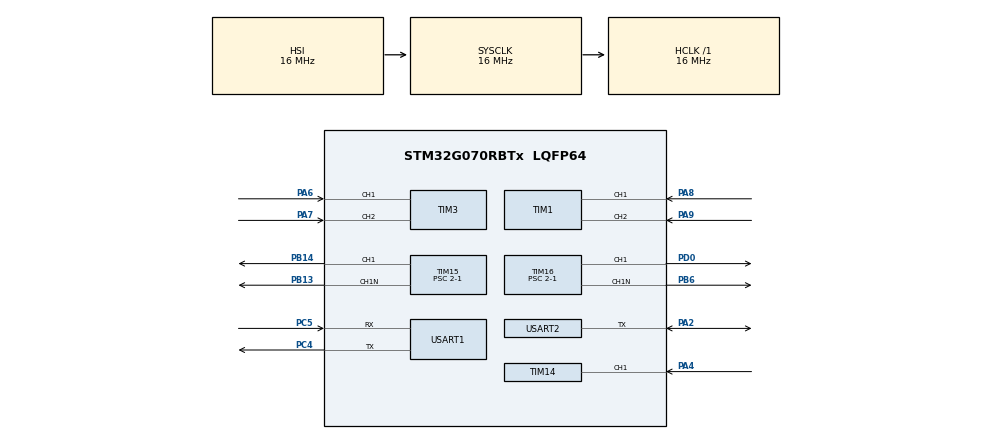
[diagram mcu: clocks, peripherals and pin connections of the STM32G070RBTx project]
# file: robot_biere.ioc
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FREERTOS.Tasks01=defaultTask,0,128,StartDefaultTask,Default,NULL,Dynamic,NULL,NULL
Mcu.Family=STM32G0
Mcu.Name=STM32G070RBTx
Mcu.Package=LQFP64
NVIC.TIM7_IRQn=true\:3\:0\:true\:false\:true\:true\:true\:true\:true
PA13.Mode=Serial_Wire
PA13.Signal=SYS_SWDIO
PA14-BOOT0.Mode=Serial_Wire
PA14-BOOT0.Signal=SYS_SWCLK
PA2.GPIO_ModeDefaultOD=GPIO_MODE_AF_PP
PA2.GPIO_PuPdOD=GPIO_NOPULL
PA2.Mode=Half_duplex(single_wire_mode)
PA2.Signal=USART2_TX
PA4.Signal=S_TIM14_CH1
PA6.Signal=S_TIM3_CH1
PA7.Signal=S_TIM3_CH2
PA8.Signal=S_TIM1_CH1
PA9.Signal=S_TIM1_CH2
PB13.Mode=PWM Generation1 CH1 CH1N
PB13.Signal=TIM15_CH1N
PB14.Signal=S_TIM15_CH1
PB6.Mode=PWM Generation1 CH1 CH1N
PB6.Signal=TIM16_CH1N
PC4.Mode=Asynchronous
PC4.Signal=USART1_TX
PC5.Mode=Asynchronous
PC5.Signal=USART1_RX
PD0.Signal=S_TIM16_CH1
ProjectManager.HeapSize=0x200
ProjectManager.StackSize=0x400
ProjectManager.TargetToolchain=STM32CubeIDE
RCC.AHBFreq_Value=16000000
RCC.CortexFreq_Value=16000000
RCC.EXTERNAL_CLOCK_VALUE=48000
RCC.HCLKFreq_Value=16000000
RCC.HSE_VALUE=8000000
RCC.HSI_VALUE=16000000
RCC.LSE_VALUE=32768
RCC.SYSCLKFreq_VALUE=16000000
RCC.VCOOutputFreq_Value=128000000
SH.S_TIM14_CH1.0=TIM14_CH1,Input_Capture1_from_TI1
SH.S_TIM15_CH1.0=TIM15_CH1,PWM Generation1 CH1 CH1N
SH.S_TIM16_CH1.0=TIM16_CH1,PWM Generation1 CH1 CH1N
SH.S_TIM1_CH1.0=TIM1_CH1,Encoder_Interface
SH.S_TIM1_CH2.0=TIM1_CH2,Encoder_Interface
SH.S_TIM3_CH1.0=TIM3_CH1,Encoder_Interface
SH.S_TIM3_CH2.0=TIM3_CH2,Encoder_Interface
TIM14.Channel=TIM_CHANNEL_1
TIM15.AutoReloadPreload=TIM_AUTORELOAD_PRELOAD_ENABLE
TIM15.Channel-PWM\ Generation1\ CH1\ CH1N=TIM_CHANNEL_1
TIM15.Period=1500-1
TIM15.Prescaler=2-1
TIM16.AutoReloadPreload=TIM_AUTORELOAD_PRELOAD_ENABLE
TIM16.Channel=TIM_CHANNEL_1
TIM16.Period=1500-1
TIM16.Prescaler=2-1
TIM7.Period=30000
TIM7.Prescaler=64
USART1.SwapParam=ADVFEATURE_SWAP_ENABLE
USART1.VirtualMode-Asynchronous=VM_ASYNC
USART2.BaudRate=1000000
USART2.VirtualMode-Half_duplex(single_wire_mode)=VM_ASYNC
VP_FREERTOS_VS_CMSIS_V1.Mode=CMSIS_V1
VP_TIM14_VS_ClockSourceINT.Mode=Enable_Timer
VP_TIM16_VS_ClockSourceINT.Mode=Enable_Timer
VP_TIM7_VS_ClockSourceINT.Mode=Enable_Timer
board=custom

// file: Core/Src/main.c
/* USER CODE BEGIN Header */
/**
 ******************************************************************************
 * @file           : main.c
 * @brief          : Main program body
 ******************************************************************************
 * @attention
 *
 * Copyright (c) 2022 STMicroelectronics.
 * All rights reserved.
 *
 * This software is licensed under terms that can be found in the LICENSE file
 * in the root directory of this software component.
 * If no LICENSE file comes with this software, it is provided AS-IS.
 *
 ******************************************************************************
 */
/* USER CODE END Header */
#include "main.h"
#include "cmsis_os.h"
#include "tim.h"
#include "usart.h"
#include "gpio.h"

/* USER CODE BEGIN Includes */
#include <stdio.h>
#include "xl320_driver.h"
#include "shell.h"
/* USER CODE END Includes */

/* USER CODE BEGIN PD */
#define STACK_SERVO_SIZE			256
#define STACK_MOTOR_SIZE			256
/* USER CODE END PD */

/* USER CODE BEGIN PV */
XL320_t xl320;
h_shell_t shell;

TaskHandle_t h_taskMoteur = NULL;
TaskHandle_t h_taskServoMoteur = NULL;

SemaphoreHandle_t sem_taskServo = NULL;
SemaphoreHandle_t sem_taskMoteur = NULL;
SemaphoreHandle_t sem_taskAsserv = NULL;
SemaphoreHandle_t sem_taskSensorTof = NULL;
SemaphoreHandle_t sem_taskSensorColor = NULL;
SemaphoreHandle_t sem_taskSync = NULL;
/* USER CODE END PV */

void SystemClock_Config(void);
void MX_FREERTOS_Init(void);

/* USER CODE BEGIN 0 */
int __io_putchar(int ch)
{
	HAL_UART_Transmit(&huart1, (uint8_t *)&ch, 1, 0xFFFF);
	return ch;
}

void HAL_UART_RxCpltCallback(UART_HandleTypeDef *huart)
{

}
/* USER CODE END 0 */

int main(void)
{

	/* MCU Configuration--------------------------------------------------------*/

	/* Reset of all peripherals, Initializes the Flash interface and the Systick. */
	HAL_Init();

	/* Configure the system clock */
	SystemClock_Config();

	/* Initialize all configured peripherals */
	MX_GPIO_Init();
	MX_USART1_UART_Init();
	MX_USART2_UART_Init();
	MX_TIM14_Init();
	MX_TIM3_Init();
	MX_TIM15_Init();
	MX_TIM16_Init();
	MX_TIM1_Init();
	MX_TIM7_Init();
	/* USER CODE BEGIN 2 */
	HAL_TIM_Base_Start_IT(&htim7);
	HAL_TIM_Encoder_Start(&htim1, TIM_CHANNEL_ALL);
	HAL_TIM_Encoder_Start(&htim3, TIM_CHANNEL_ALL);

	xl320.serial.transmit = uart_half_duplex_transmit;
	xl320.serial.receive  = uart_half_duplex_receive;

	sem_taskServo = xSemaphoreCreateBinary();
	sem_taskAsserv = xSemaphoreCreateBinary();
	sem_taskMoteur = xSemaphoreCreateBinary();
	sem_taskSensorColor = xSemaphoreCreateBinary();
	sem_taskSensorTof = xSemaphoreCreateBinary();
	sem_taskSync = xSemaphoreCreateBinary();

	// Initialisation du shell

	//sh_init(&shell);

	// Initialisation du Servo Moteur

	xl320_init(&xl320, 1, BR_1M);
	xl320_setSpeed(&xl320, 20);
	xl320_torqueEnable(&xl320);
	xl320_setGoalPosition(&xl320, 0);

	// Tâche du ServoMoteur

	void taskServoMoteur(void * unused){
		for(;;){
			//xSemaphoreTake(sem_taskServo, portMAX_DELAY);
			xl320_setGoalPosition(&xl320, 69);
			// donner le sémaphore à la tache asserv
			vTaskDelay(1000);
			xl320_setGoalPosition(&xl320, 0);
			// donner le sémaphore à la tâche capteur de couleurs
			vTaskDelay(1000);
		}
	}

	if (xTaskCreate(taskServoMoteur, "Tache Servo moteur", STACK_SERVO_SIZE, NULL, 6, &h_taskServoMoteur) != pdPASS){
		printf("TaskServoMoteur not created");
	}

	// Tâche du moteur
	/*
	void taskMoteur(void * unused){
		for (;;){

		}
	}

	// Tâche de synchronisation

	void taskSync(void * unused){
		// Si la distance entre canette et capteur < valeur, alors on donne le sémaphore à la tâche ServoMoteur

		//
	}
	 */
	// Tâche d'initialisation
	/*
	void taskInit(void * unused){
		if (xTaskCreate(taskMoteur, "Tache de synchronisation", STACK_MOTOR_SIZE, NULL, 2, NULL) != pdPASS){
			printf("TaskSync not created");
		}
		if (xTaskCreate(taskServoMoteur, "Tache Servo moteur", STACK_SERVO_SIZE, NULL, 6, &h_taskServoMoteur) != pdPASS){
			printf("TaskServoMoteur not created");
		}
	}
	 */
	vTaskStartScheduler();

	/* USER CODE END 2 */

	/* Call init function for freertos objects (in freertos.c) */
	MX_FREERTOS_Init();

	/* Start scheduler */
	osKernelStart();

	/* We should never get here as control is now taken by the scheduler */
	/* Infinite loop */
	while (1)
	{

	}
}

void SystemClock_Config(void)
{
	RCC_OscInitTypeDef RCC_OscInitStruct = {0};
	RCC_ClkInitTypeDef RCC_ClkInitStruct = {0};

	/** Configure the main internal regulator output voltage
	 */
	HAL_PWREx_ControlVoltageScaling(PWR_REGULATOR_VOLTAGE_SCALE1);

	/** Initializes the RCC Oscillators according to the specified parameters
	 * in the RCC_OscInitTypeDef structure.
	 */
	RCC_OscInitStruct.OscillatorType = RCC_OSCILLATORTYPE_HSI;
	RCC_OscInitStruct.HSIState = RCC_HSI_ON;
	RCC_OscInitStruct.HSIDiv = RCC_HSI_DIV1;
	RCC_OscInitStruct.HSICalibrationValue = RCC_HSICALIBRATION_DEFAULT;
	RCC_OscInitStruct.PLL.PLLState = RCC_PLL_NONE;
	if (HAL_RCC_OscConfig(&RCC_OscInitStruct) != HAL_OK)
	{
		Error_Handler();
	}

	/** Initializes the CPU, AHB and APB buses clocks
	 */
	RCC_ClkInitStruct.ClockType = RCC_CLOCKTYPE_HCLK|RCC_CLOCKTYPE_SYSCLK
			|RCC_CLOCKTYPE_PCLK1;
	RCC_ClkInitStruct.SYSCLKSource = RCC_SYSCLKSOURCE_HSI;
	RCC_ClkInitStruct.AHBCLKDivider = RCC_SYSCLK_DIV1;
	RCC_ClkInitStruct.APB1CLKDivider = RCC_HCLK_DIV1;

	if (HAL_RCC_ClockConfig(&RCC_ClkInitStruct, FLASH_LATENCY_0) != HAL_OK)
	{
		Error_Handler();
	}
}

void Error_Handler(void)
{
	__disable_irq();
	while (1)
	{
	}
}

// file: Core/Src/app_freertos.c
/* USER CODE BEGIN Header */
/**
  ******************************************************************************
  * File Name          : app_freertos.c
  * Description        : Code for freertos applications
  ******************************************************************************
  * @attention
  *
  * Copyright (c) 2022 STMicroelectronics.
  * All rights reserved.
  *
  * This software is licensed under terms that can be found in the LICENSE file
  * in the root directory of this software component.
  * If no LICENSE file comes with this software, it is provided AS-IS.
  *
  ******************************************************************************
  */
/* USER CODE END Header */

#include "FreeRTOS.h"
#include "task.h"
#include "main.h"
#include "cmsis_os.h"

osThreadId defaultTaskHandle;

void StartDefaultTask(void const * argument);

void MX_FREERTOS_Init(void); /* (MISRA C 2004 rule 8.1) */

/* Hook prototypes */
void configureTimerForRunTimeStats(void);
unsigned long getRunTimeCounterValue(void);
void vApplicationStackOverflowHook(xTaskHandle xTask, signed char *pcTaskName);

/* USER CODE BEGIN 1 */
/* Functions needed when configGENERATE_RUN_TIME_STATS is on */
__weak void configureTimerForRunTimeStats(void)
{

}

__weak unsigned long getRunTimeCounterValue(void)
{
return 0;
}
/* USER CODE END 1 */

/* USER CODE BEGIN 4 */
__weak void vApplicationStackOverflowHook(xTaskHandle xTask, signed char *pcTaskName)
{
   /* Run time stack overflow checking is performed if
   configCHECK_FOR_STACK_OVERFLOW is defined to 1 or 2. This hook function is
   called if a stack overflow is detected. */
}
/* USER CODE END 4 */

void MX_FREERTOS_Init(void) {

  /* Create the thread(s) */
  /* definition and creation of defaultTask */
  osThreadDef(defaultTask, StartDefaultTask, osPriorityNormal, 0, 128);
  defaultTaskHandle = osThreadCreate(osThread(defaultTask), NULL);

}

void StartDefaultTask(void const * argument)
{
  for(;;)
  {
    osDelay(1);
  }
}
